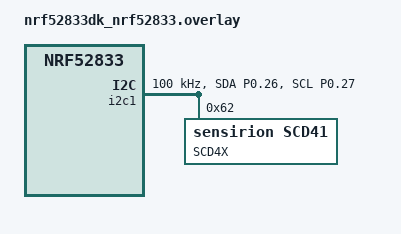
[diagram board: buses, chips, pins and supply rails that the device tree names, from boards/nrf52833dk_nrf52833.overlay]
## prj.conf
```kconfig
# I2C
CONFIG_I2C=y

# Logging
CONFIG_LOG=y
#CONFIG_LOG_BACKEND_UART=n
#CONFIG_LOG_BACKEND_RTT=n
# Print
CONFIG_SERIAL=y
CONFIG_CONSOLE=y
CONFIG_PRINTK=y
CONFIG_UART_CONSOLE=y
# Sensor
CONFIG_SENSOR=y
CONFIG_SCD4X=y
```

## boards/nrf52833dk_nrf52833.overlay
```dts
#include <zephyr/dt-bindings/pinctrl/nrf-pinctrl.h>
#include <zephyr/dt-bindings/i2c/i2c.h>

//I2C
&pinctrl{
    i2c1_default: i2c1_default {
        group1 {
            psels = <NRF_PSEL(TWIM_SDA, 0, 26)>,
                    <NRF_PSEL(TWIM_SCL, 0, 27)>;
        };
    };
    i2c1_sleep: i2c1_sleep {
        group1 {
            psels = <NRF_PSEL(TWIM_SDA, 0, 26)>,
                    <NRF_PSEL(TWIM_SCL, 0, 27)>;
            low-power-enable;
        };
    };
};

&i2c1 {
    compatible = "nordic,nrf-twim";
    status = "okay";
    clock-frequency = <I2C_BITRATE_STANDARD>;

    pinctrl-0 = <&i2c1_default>;
    pinctrl-1 = <&i2c1_sleep>;
    pinctrl-names = "default", "sleep";

    scd41: scd4x@62 {
        compatible = "sensirion,scd41";
        reg = <0x62>;
        label = "SCD4X";
        mode = <0>;
    };
};
```

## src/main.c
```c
#include <zephyr/kernel.h>
#include <zephyr/device.h>
#include <zephyr/drivers/sensor.h>
#include <zephyr/logging/log.h>
#include <zephyr/sys/printk.h>

LOG_MODULE_REGISTER(main, LOG_LEVEL_INF);

#define SCD41_NODE DT_NODELABEL(scd41)
#define ATM_PR_MMHG 760.0 // Atmospheric pressure (standard)
#define TEMP_WARN_THRESHOLD_C 45.0
#define TEMP_HYSTERESIS_C      1.0

int main(void)
{
    struct sensor_value co2, temp, humidity;
    const struct device *scd41 = DEVICE_DT_GET(SCD41_NODE);
	bool temp_alarm = false;

	if (!device_is_ready(scd41)) {
		printk("SCD41 not ready\n");
		return -ENODEV;
	}

	printk("Sensor ready: %s\n", scd41->name);

	while (1) {
		/* Fetch sensor data */
		int rc = sensor_sample_fetch(scd41);
		if (rc != 0) {
			LOG_ERR("Failed to fetch sensor data: %d\n", rc);
			k_msleep(1000);
			continue;

		}

		sensor_channel_get(scd41, SENSOR_CHAN_CO2, &co2);
		sensor_channel_get(scd41, SENSOR_CHAN_AMBIENT_TEMP, &temp);
		sensor_channel_get(scd41, SENSOR_CHAN_HUMIDITY, &humidity);

		double co2_ppm = co2.val1 + (co2.val2 / 1000000.0);
		double co2_mmhg = (co2_ppm/1000000.0) * ATM_PR_MMHG;

		double temp_c = sensor_value_to_double(&temp);
		if (temp_c > TEMP_WARN_THRESHOLD_C) {
			LOG_WRN("High temperature: %d.%d°C (limit %d°C)",
				temp.val1, temp.val2 / 100000,
				(int)TEMP_WARN_THRESHOLD_C);
			temp_alarm = true;
		} else if (temp_alarm &&
			   temp_c < (TEMP_WARN_THRESHOLD_C - TEMP_HYSTERESIS_C)) {
			LOG_INF("Temperature back to normal: %d.%d°C",
				temp.val1, temp.val2 / 100000);
			temp_alarm = false;
		}

		int mmhg_int = (int)co2_mmhg;
		int mmhg_frac = (int)((co2_mmhg - mmhg_int) * 10000);

		LOG_INF("CO2: %d.%d ppm | Temp: %d.%d°C | Humidity: %d.%d%% | CO2: %d.%04d mmHg\n",
			co2.val1, co2.val2 / 100000,
			temp.val1, temp.val2 / 100000,
			humidity.val1, humidity.val2 / 100000,
			mmhg_int, mmhg_frac);

		k_msleep(5000);
	}

	return 0;
}
```
